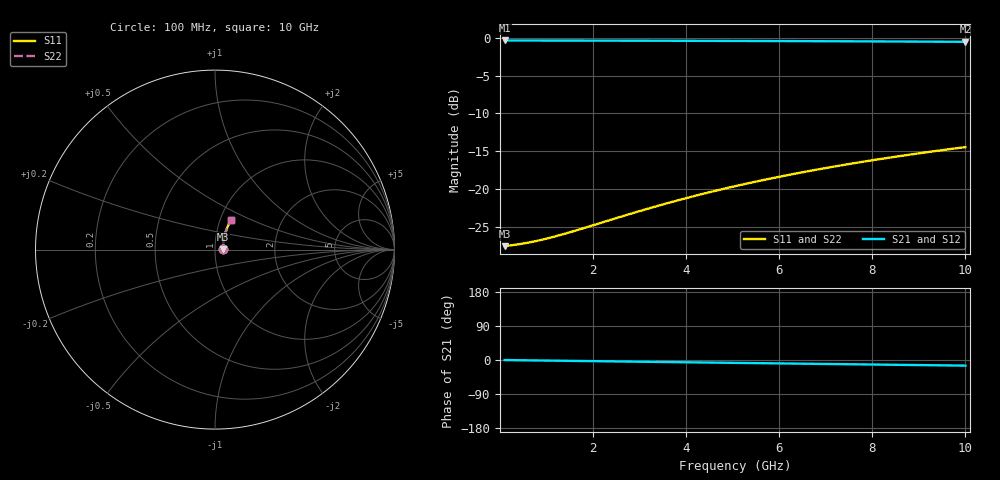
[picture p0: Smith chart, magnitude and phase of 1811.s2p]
# Hz S RI R 50.00
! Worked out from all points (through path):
!   100 points, 100 MHz to 10 GHz, reference 50 ohm
!   highest |S21| = -0.37 dB at 100 MHz (marker M1); lowest = -0.6 dB at 10 GHz (marker M2)
!   group delay of S21, straight-line fit = 4.13 ps
!   lowest |S11| = -27.5 dB at 100 MHz (marker M3), VSWR 1.09, Z = 54.4 + j0.194 ohm
!   |S11| at or under -10 dB: start of sweep to end of sweep
!   |S22| runs from -27.5 to -14.4 dB; largest |S21 - S12| = 0
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1e8  0.042 0.00178  0.958 -0.00252  0.958 -0.00252  0.042 0.00178
3e8  0.0425 0.00534  0.9575 -0.00754  0.9575 -0.00754  0.0425 0.00534
5e8  0.0429 0.00889  0.9571 -0.0126  0.9571 -0.0126  0.0429 0.00889
7e8  0.0432 0.0124  0.9568 -0.0176  0.9568 -0.0176  0.0432 0.0124
9e8  0.0435 0.016  0.9564 -0.0226  0.9564 -0.0226  0.0435 0.016
1.1e9  0.0439 0.0195  0.9561 -0.0276  0.9561 -0.0276  0.0439 0.0195
1.3e9  0.0442 0.023  0.9557 -0.0326  0.9557 -0.0326  0.0442 0.023
1.8e9  0.0452 0.0319  0.9547 -0.0451  0.9547 -0.0451  0.0452 0.0319
2.8e9  0.0478 0.0494  0.952 -0.0699  0.952 -0.0699  0.0478 0.0494
3.4e9  0.0497 0.0598  0.95 -0.0848  0.95 -0.0848  0.0497 0.0598
3.8e9  0.0511 0.0667  0.9484 -0.0946  0.9484 -0.0946  0.0511 0.0667
4.2e9  0.0527 0.0736  0.9468 -0.1044  0.9468 -0.1044  0.0527 0.0736
4.6e9  0.0544 0.0804  0.945 -0.1142  0.945 -0.1142  0.0544 0.0804
5.1e9  0.0567 0.0889  0.9425 -0.1263  0.9425 -0.1263  0.0567 0.0889
5.5e9  0.0588 0.0956  0.9404 -0.136  0.9404 -0.136  0.0588 0.0956
5.9e9  0.0609 0.1022  0.9381 -0.1456  0.9381 -0.1456  0.0609 0.1022
6.3e9  0.0632 0.1088  0.9357 -0.1552  0.9357 -0.1552  0.0632 0.1088
6.7e9  0.0656 0.1154  0.9331 -0.1646  0.9331 -0.1646  0.0656 0.1154
7.5e9  0.0708 0.1283  0.9276 -0.1834  0.9276 -0.1834  0.0708 0.1283
8.4e9  0.0772 0.1425  0.9208 -0.2042  0.9208 -0.2042  0.0772 0.1425
9.2e9  0.0835 0.1547  0.9141 -0.2224  0.9141 -0.2224  0.0835 0.1547
1e10  0.0902 0.1667  0.907 -0.2403  0.907 -0.2403  0.0902 0.1667
